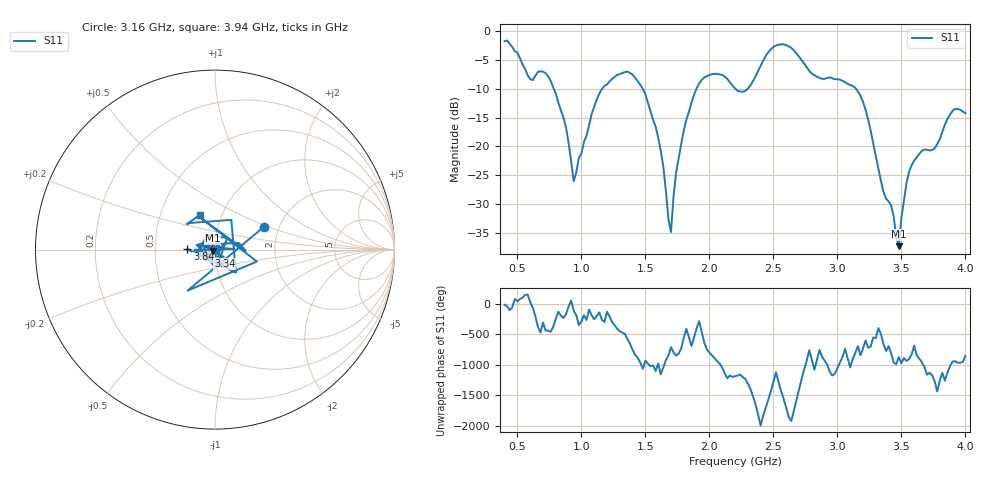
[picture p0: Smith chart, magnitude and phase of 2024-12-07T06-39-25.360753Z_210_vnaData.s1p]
!Created with skrf (http://scikit-rf.org).
# Hz S RI R 50.0
!freq ReS11 ImS11
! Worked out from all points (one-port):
!   181 points, 400 MHz to 4 GHz, reference 50 ohm
!   lowest |S11| = -37.2 dB at 3.48 GHz (marker M1), VSWR 1.03, Z = 48.8 - j0.591 ohm
!   |S11| at or under -10 dB: 783.8 MHz to 1.163 GHz (379.2 MHz wide, 39 % of centre); 1.479 GHz to 1.899 GHz (420.3 MHz wide, 24.9 % of centre); 3.144 GHz to end of sweep (the widest 3 of 4)
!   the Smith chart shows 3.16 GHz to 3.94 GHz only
!   S11 on the Smith chart (normalised r, x): 3.16 GHz: 1.67, +0.46; 3.34 GHz: 0.93, -0.06; 3.84 GHz: 0.73, +0.00; 3.94 GHz: 0.79, +0.32
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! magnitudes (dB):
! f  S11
! 400 MHz  -1.8
! 600 MHz  -8.4
! 720 MHz  -7.3
! 860 MHz  -15.0
! 940 MHz  -26.0
! 1.12 GHz  -11.9
! 1.3 GHz  -7.5
! 1.5 GHz  -11.0
! 1.62 GHz  -20.7
! 1.7 GHz  -34.8
! 1.76 GHz  -22.0
! 1.82 GHz  -15.4
! 1.94 GHz  -8.5
! 2.2 GHz  -10.0
! 2.3 GHz  -10.0
! 2.5 GHz  -2.8
! 2.66 GHz  -3.4
! 2.82 GHz  -7.7
! 3.1 GHz  -9.4
! 3.16 GHz  -10.5
! 3.24 GHz  -15.3
! 3.34 GHz  -25.9
! 3.42 GHz  -30.2
! 3.48 GHz  -37.2
! 3.56 GHz  -24.4
! 3.84 GHz  -16.2
! 3.94 GHz  -13.5
! 4 GHz  -14.2
